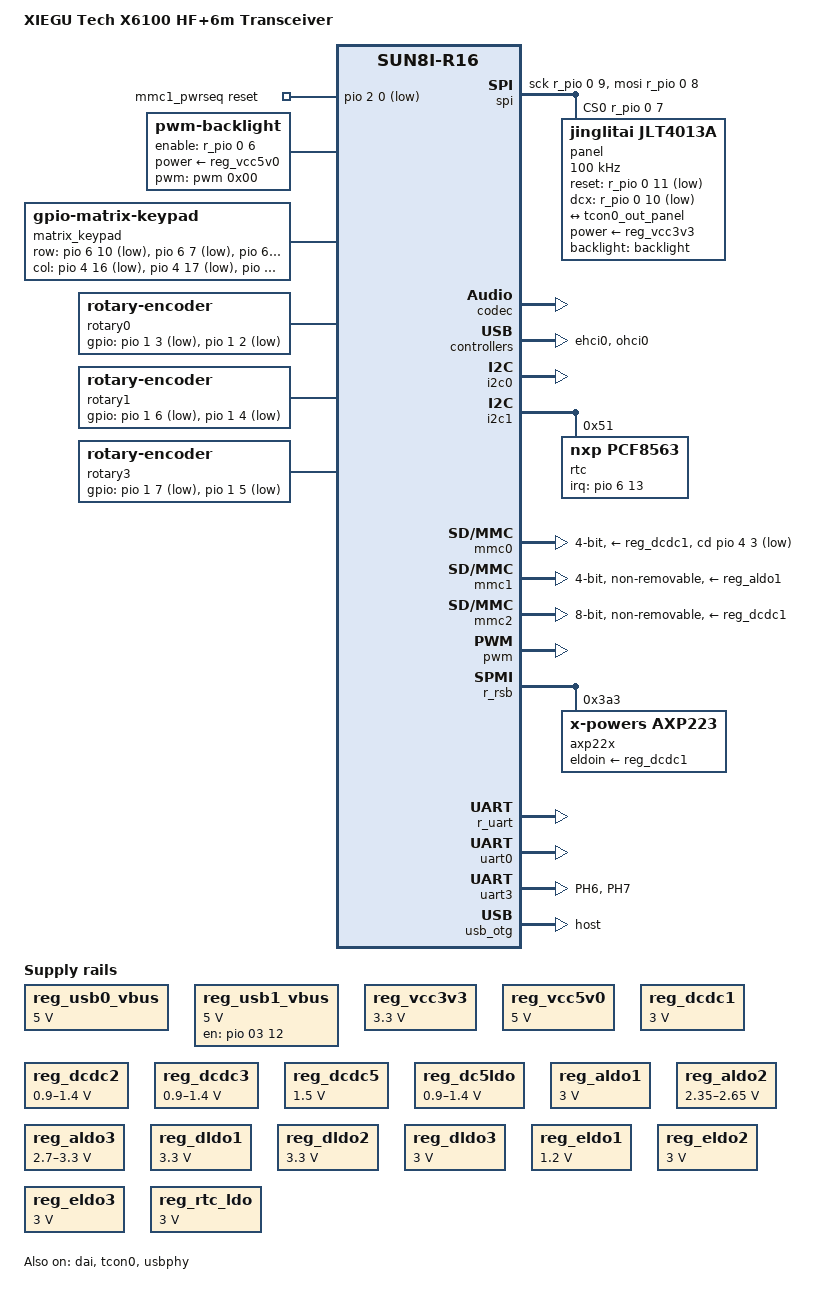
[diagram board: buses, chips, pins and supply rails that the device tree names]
/dts-v1/;

/*
 * Decompiled, and cleaned up device tree file for the X6100.
 * Thanks <apritzel> from #linux-sunxi @ OFTC (https://oftc.net/)
 */

#include "sun8i-a33.dtsi"

#include <dt-bindings/gpio/gpio.h>
#include <dt-bindings/input/input.h>

/ {
	model = "XIEGU Tech X6100 HF+6m Transceiver";
	compatible = "xiegu,x6100", "allwinner,sun8i-r16";

	aliases {
		serial0 = "/soc/serial@1c28000";
	};

	chosen {
		stdout-path = "serial0:115200n8";
	};

	reserved-memory {
		#address-cells = <1>;
		#size-cells = <1>;
		ranges;

		mali_cma: cma@4a000000 {
			compatible = "shared-dma-pool";
			size = <0x8000000>;
			alloc-ranges = <0x4a000000 0x8000000>;
			reusable;
			linux,cma-default;
		};
	};

	mmc1_pwrseq: mmc1-pwrseq {
		compatible = "mmc-pwrseq-simple";
		reset-gpios = <&pio 2 0 GPIO_ACTIVE_LOW>;	/* PC0 (?) */
	};

	reg_usb0_vbus: usb0_vbus {
		compatible = "regulator-fixed";
		regulator-name = "usb0_vbus";
		regulator-min-microvolt = <5000000>;
		regulator-max-microvolt = <5000000>;
		regulator-always-on;
		status = "okay";
	};

	reg_usb1_vbus: usb1_vbus {
		compatible = "regulator-fixed";
		regulator-name = "usb1_vbus";
		regulator-min-microvolt = <5000000>;
		regulator-max-microvolt = <5000000>;
		regulator-boot-on;
		enable-active-high;
		gpio = <&pio 03 12 GPIO_ACTIVE_HIGH>;
	};

	reg_vcc3v3: vcc3v3 {
		compatible = "regulator-fixed";
		regulator-name = "vcc3v3";
		regulator-min-microvolt = <3300000>;
		regulator-max-microvolt = <3300000>;
	};

	reg_vcc5v0: vcc5v0 {
		compatible = "regulator-fixed";
		regulator-name = "vcc5v0";
		regulator-min-microvolt = <5000000>;
		regulator-max-microvolt = <5000000>;
	};

	backlight: backlight {
		compatible = "pwm-backlight";
		power-supply = <&reg_vcc5v0>;
		pwms = <&pwm 0x00 0xc350 0x00>;
		brightness-levels = <0 10 20 30 40 50 60 70 80 90 100>;
		default-brightness-level = <5>;
		enable-gpios = <&r_pio 0 6 GPIO_ACTIVE_HIGH>;	/* PL6 */
	};

	spi {
		compatible = "spi-gpio";
		#address-cells = <1>;
		#size-cells = <0>;
		sck-gpios = <&r_pio 0 9 GPIO_ACTIVE_HIGH>;	/* PL9 */
		mosi-gpios = <&r_pio 0 8 GPIO_ACTIVE_HIGH>;	/* PL8 */
		cs-gpios = <&r_pio 0 7 GPIO_ACTIVE_HIGH>;	/* PL7 */
		num-chipselects = <1>;
		status = "okay";

		panel@0 {
			compatible = "jinglitai,jlt4013a";
			reg = <0>;
			power-supply = <&reg_vcc3v3>;
			reset-gpios = <&r_pio 0 11 GPIO_ACTIVE_LOW>; /* PL11 */
			dcx-gpios = <&r_pio 0 10 GPIO_ACTIVE_LOW>;   /* PL10 */
			backlight = <&backlight>;
			spi-max-frequency = <100000>;

			port {
				panel_input: endpoint {
					remote-endpoint = <&tcon0_out_panel>;
				};
			};
		};
	};

	matrix_keypad {
		compatible = "gpio-matrix-keypad";
		row-gpios = <&pio 6 10 0x17>, <&pio 6 7 0x17>,	/* PG6-PG10 */
			    <&pio 6 6 0x17>, <&pio 6 8 0x17>,
			    <&pio 6 9 0x17>;
		col-gpios = <&pio 4 16 GPIO_ACTIVE_LOW>,	/* PE11-PE17 */
			    <&pio 4 17 GPIO_ACTIVE_LOW>,
			    <&pio 4 11 GPIO_ACTIVE_LOW>,
			    <&pio 4 14 GPIO_ACTIVE_LOW>,
			    <&pio 4 12 GPIO_ACTIVE_LOW>,
			    <&pio 4 13 GPIO_ACTIVE_LOW>;
		linux,keymap = <MATRIX_KEY(0, 0, BTN_TRIGGER_HAPPY1)
				MATRIX_KEY(0, 1, BTN_TRIGGER_HAPPY2)
				MATRIX_KEY(0, 2, BTN_TRIGGER_HAPPY3)
				MATRIX_KEY(0, 3, BTN_TRIGGER_HAPPY4)
				MATRIX_KEY(0, 4, BTN_TRIGGER_HAPPY5)
				MATRIX_KEY(0, 5, BTN_TRIGGER_HAPPY6)
				MATRIX_KEY(1, 0, BTN_TRIGGER_HAPPY7)
				MATRIX_KEY(1, 1, BTN_TRIGGER_HAPPY8)
				MATRIX_KEY(1, 2, BTN_TRIGGER_HAPPY9)
				MATRIX_KEY(1, 3, BTN_TRIGGER_HAPPY10)
				MATRIX_KEY(1, 4, BTN_TRIGGER_HAPPY11)
				MATRIX_KEY(1, 5, BTN_TRIGGER_HAPPY12)
				MATRIX_KEY(2, 0, BTN_TRIGGER_HAPPY13)
				MATRIX_KEY(2, 1, BTN_TRIGGER_HAPPY14)
				MATRIX_KEY(2, 2, BTN_TRIGGER_HAPPY15)
				MATRIX_KEY(2, 3, BTN_TRIGGER_HAPPY16)
				MATRIX_KEY(2, 4, BTN_TRIGGER_HAPPY17)
				MATRIX_KEY(2, 5, BTN_TRIGGER_HAPPY18)
				MATRIX_KEY(3, 0, BTN_TRIGGER_HAPPY19)
				MATRIX_KEY(3, 1, BTN_TRIGGER_HAPPY20)
				MATRIX_KEY(3, 2, BTN_TRIGGER_HAPPY21)
				MATRIX_KEY(3, 3, BTN_TRIGGER_HAPPY22)
				MATRIX_KEY(3, 4, BTN_TRIGGER_HAPPY23)
				MATRIX_KEY(3, 5, BTN_TRIGGER_HAPPY24)
				MATRIX_KEY(4, 0, BTN_TRIGGER_HAPPY25)
				MATRIX_KEY(4, 1, BTN_TRIGGER_HAPPY26)
				MATRIX_KEY(4, 2, BTN_TRIGGER_HAPPY27)
				MATRIX_KEY(4, 3, BTN_TRIGGER_HAPPY28)
				MATRIX_KEY(4, 4, BTN_TRIGGER_HAPPY29)
				MATRIX_KEY(4, 5, BTN_TRIGGER_HAPPY30)>;
		gpio-activelow;
		wakeup-source;
		linux,no-autorepeat;
		debounce-delay-ms = <25>;
		col-scan-delay-us = <1>;
		drive-inactive-cols;
	};

	rotary0 {
		compatible = "rotary-encoder";
		gpios = <&pio 1 3 GPIO_ACTIVE_LOW>,	/* PB3 */
			<&pio 1 2 GPIO_ACTIVE_LOW>;	/* PB2 */
		linux,axis = <0>;
		rotary-encoder,encoding = "gray";
		rotary-encoder,relative-axis;
	};

	rotary1 {
		compatible = "rotary-encoder";
		gpios = <&pio 1 6 GPIO_ACTIVE_LOW>, <&pio 1 4 GPIO_ACTIVE_LOW>;
		linux,axis = <1>;
		rotary-encoder,encoding = "gray";
		rotary-encoder,relative-axis;
	};

	rotary3 {
		compatible = "rotary-encoder";
		gpios = <&pio 1 7 GPIO_ACTIVE_LOW>, <&pio 1 5 GPIO_ACTIVE_LOW>;
		linux,axis = <2>;
		rotary-encoder,encoding = "gray";
		rotary-encoder,relative-axis;
	};
};

&codec {
	status = "okay";
};

&dai {
	status = "okay";
};

&ehci0 {
	status = "okay";
};

&i2c0 {
	status = "okay";
};

&i2c1 {
	status = "okay";

	rtc@51 {
		compatible = "nxp,pcf8563";
		reg = <0x51>;
		interrupt-parent = <&pio>;
		interrupts = <6 13 0x02>;			/* PG13 */
	};
};

&mali {
	memory-region = <&mali_cma>;
	operating-points-v2 = <0x23>;
};

&mmc0 {
	status = "okay";
	vmmc-supply = <&reg_dcdc1>;
	cd-gpios = <&pio 4 3 GPIO_ACTIVE_LOW>;	/* PE3 */
	bus-width = <4>;
};

&mmc1 {
	status = "okay";
	pinctrl-names = "default";
	pinctrl-0 = <&mmc1_pg_pins>;
	vmmc-supply = <&reg_aldo1>;
	mmc-pwrseq = <&mmc1_pwrseq>;
	bus-width = <4>;
	non-removable;
};

&mmc2 {
	status = "okay";
	pinctrl-names = "default";
	pinctrl-0 = <&mmc2_8bit_pins>;
	vmmc-supply = <&reg_dcdc1>;
	bus-width = <8>;
	non-removable;
	cap-mmc-hw-reset;
};

&ohci0 {
	status = "okay";
};

&pio {
	vcc-pb-supply = <&reg_vcc3v3>;
	vcc-pc-supply = <&reg_vcc3v3>;
	vcc-pd-supply = <&reg_vcc3v3>;
	vcc-pe-supply = <&reg_vcc3v3>;
	vcc-pf-supply = <&reg_vcc3v3>;
	vcc-pg-supply = <&reg_vcc3v3>;
	vcc-ph-supply = <&reg_vcc3v3>;
	vcc-pl-supply = <&reg_vcc3v3>;

	uart3_pins: uart3-pins {
		pins = "PH6", "PH7";
		function = "uart3";
	};
};

&pwm {
	status = "okay";
	pinctrl-names = "default";
	pinctrl-0 = <&pwm0_pin>;
};

&r_rsb {
	status = "okay";

	axp22x: pmic@3a3 {
		compatible = "x-powers,axp223";
		reg = <0x3a3>;
		interrupt-parent = <&r_intc>;
		interrupts = <GIC_SPI 32 IRQ_TYPE_LEVEL_LOW>;
		eldoin-supply = <&reg_dcdc1>;
		interrupt-controller;
		#interrupt-cells = <1>;
	};
};

#include "axp223.dtsi"

&ac_power_supply {
	status = "okay";
};

&battery_power_supply {
	status = "okay";
};

&reg_dcdc1 {
	regulator-name = "vcc-3v0";
	regulator-always-on;
	regulator-min-microvolt = <3000000>;
	regulator-max-microvolt = <3000000>;
};

&reg_dcdc2 {
	regulator-name = "vdd-sys";
	regulator-always-on;
	regulator-min-microvolt = <900000>;
	regulator-max-microvolt = <1400000>;
};

&reg_dcdc3 {
	regulator-name = "vdd-cpu";
	regulator-always-on;
	regulator-min-microvolt = <900000>;
	regulator-max-microvolt = <1400000>;
};

&reg_dcdc5 {
	regulator-name = "vcc-dram";
	regulator-always-on;
	regulator-min-microvolt = <1500000>;
	regulator-max-microvolt = <1500000>;
};

&reg_dc1sw {
	regulator-name = "vcc-lcd";
};

&reg_dc5ldo {
	regulator-name = "vdd-cpus";
	regulator-always-on;
	regulator-min-microvolt = <900000>;
	regulator-max-microvolt = <1400000>;
};

&reg_aldo1 {
	regulator-name = "vcc-io";
	regulator-always-on;
	regulator-min-microvolt = <3000000>;
	regulator-max-microvolt = <3000000>;
};

&reg_aldo2 {
	regulator-name = "vdd-dll";
	regulator-always-on;
	regulator-min-microvolt = <2350000>;
	regulator-max-microvolt = <2650000>;
};

&reg_aldo3 {
	regulator-name = "vcc-pll-avcc";
	regulator-always-on;
	regulator-min-microvolt = <2700000>;
	regulator-max-microvolt = <3300000>;
};

&reg_dldo1 {
	regulator-name = "vcc-wifi0";
	regulator-always-on;
	regulator-min-microvolt = <3300000>;
	regulator-max-microvolt = <3300000>;
};

&reg_dldo2 {
	regulator-name = "vcc-wifi1";
	regulator-always-on;
	regulator-min-microvolt = <3300000>;
	regulator-max-microvolt = <3300000>;
};

&reg_dldo3 {
	regulator-name = "vcc-3v0-csi";
	regulator-min-microvolt = <3000000>;
	regulator-max-microvolt = <3000000>;
};

&reg_eldo1 {
	regulator-name = "vcc-1v2-hsic";
	regulator-min-microvolt = <1200000>;
	regulator-max-microvolt = <1200000>;
};

&reg_eldo2 {
	regulator-name = "vcc-dsp";
	regulator-min-microvolt = <3000000>;
	regulator-max-microvolt = <3000000>;
};

&reg_eldo3 {
	regulator-name = "eldo3";
	regulator-min-microvolt = <3000000>;
	regulator-max-microvolt = <3000000>;
};

&reg_rtc_ldo {
	regulator-always-on;
	regulator-min-microvolt = <3000000>;
	regulator-max-microvolt = <3000000>;
	regulator-name = "rtc_ldo";
};

&reg_drivevbus {
	regulator-name = "usb0-vbus";
	status = "okay";
};

&r_uart {
	status = "okay";
	pinctrl-names = "default";
	pinctrl-0 = <&r_uart_pins_a>;
};

&sound {
	simple-audio-card,routing = "Left DAC", "AIF1 Slot 0 Left",
				    "Right DAC", "AIF1 Slot 0 Right",
				    "AIF1 Slot 0 Left ADC", "Left ADC",
				    "AIF1 Slot 0 Right ADC", "Right ADC";
	status = "okay";
};

&tcon0 {
	pinctrl-names = "default";
	pinctrl-0 = <&lcd_rgb666_pins>;
	status = "okay";
};

&tcon0_out {
        tcon0_out_panel: endpoint@0 {
                reg = <0>;
                remote-endpoint = <&panel_input>;
        };
};

&uart0 {
	status = "okay";
	pinctrl-names = "default";
	pinctrl-0 = <&uart0_pb_pins>;
};

&uart3 {
	status = "okay";
	pinctrl-names = "default";
	pinctrl-0 = <&uart3_pins>;
};

&usb_otg {
	dr_mode = "host";
	status = "okay";
};

&usbphy {
	status = "okay";
	usb0_id_det-gpios = <&pio 7 8 GPIO_ACTIVE_HIGH>;	/* PH8 */
	usb0_vbus_power-supply = <0x16>;
	usb0_vbus-supply = <&reg_usb0_vbus>;
	usb1_vbus-supply = <&reg_vcc5v0>;
};

&usb_power_supply {
	status = "okay";
};
